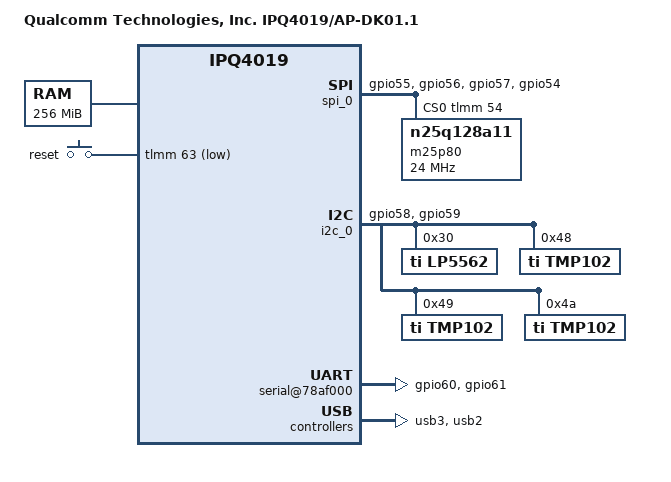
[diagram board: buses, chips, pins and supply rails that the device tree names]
/* Copyright (c) 2015 - 2016, The Linux Foundation. All rights reserved.
 *
 * Permission to use, copy, modify, and/or distribute this software for any
 * purpose with or without fee is hereby granted, provided that the above
 * copyright notice and this permission notice appear in all copies.
 *
 * THE SOFTWARE IS PROVIDED "AS IS" AND THE AUTHOR DISCLAIMS ALL WARRANTIES
 * WITH REGARD TO THIS SOFTWARE INCLUDING ALL IMPLIED WARRANTIES OF
 * MERCHANTABILITY AND FITNESS. IN NO EVENT SHALL THE AUTHOR BE LIABLE FOR
 * ANY SPECIAL, DIRECT, INDIRECT, OR CONSEQUENTIAL DAMAGES OR ANY DAMAGES
 * WHATSOEVER RESULTING FROM LOSS OF USE, DATA OR PROFITS, WHETHER IN AN
 * ACTION OF CONTRACT, NEGLIGENCE OR OTHER TORTIOUS ACTION, ARISING OUT OF
 * OR IN CONNECTION WITH THE USE OR PERFORMANCE OF THIS SOFTWARE.
 *
 */

#include "qcom-ipq4019.dtsi"
#include <dt-bindings/input/input.h>
#include <dt-bindings/gpio/gpio.h>

/ {
	model = "Qualcomm Technologies, Inc. IPQ4019/AP-DK01.1";
	compatible = "qcom,ipq4019";

	memory {
		device_type = "memory";
		reg = <0x80000000 0x10000000>; /* 256MB */
	};

	chosen {
		bootargs-append = " clk_ignore_unused";
	};

	soc {
		pinctrl@0x01000000 {
			mdio_pins: mdio_pinmux {
				mux_1 {
					pins = "gpio53";
					function = "mdio1";
					bias-pull-up;
				};
				mux_2 {
					pins = "gpio52";
					function = "mdc";
					bias-pull-up;
				};
			};

			serial_pins: serial_pinmux {
				mux {
					pins = "gpio60", "gpio61";
					function = "blsp_uart0";
					bias-disable;
				};
			};

			spi_0_pins: spi_0_pinmux {
				pinmux {
					function = "blsp_spi0";
					pins = "gpio55", "gpio56", "gpio57";
					drive-strength = <8>;
					bias-disable;
				};
				pinmux_cs {
					function = "gpio";
					pins = "gpio54";
					drive-strength = <8>;
					bias-disable;
					output-high;
				};
			};

			i2c_0_pins: i2c_0_pinmux {
				mux {
					pins = "gpio58", "gpio59";
					function = "blsp_i2c0";
					bias-disable;
				};
			};

			reset_pins: reset_pinmux {
				mux {
					pins = "gpio63";
					bias-pull-up;
				};
			};
		};

		spi_0: spi@78b5000 {
			pinctrl-0 = <&spi_0_pins>;
			pinctrl-names = "default";
			status = "ok";
			cs-gpios = <&tlmm 54 0>;
			num-cs = <1>;

			m25p80@0 {
				#address-cells = <1>;
				#size-cells = <1>;
				compatible = "n25q128a11";
				reg = <0>;
				linux,modalias = "m25p80", "n25q128a11";
				spi-max-frequency = <24000000>;
				use-default-sizes;
			};

		};
		
		i2c_0: i2c@78b7000 { /* BLSP1 QUP2 */
			pinctrl-0 = <&i2c_0_pins>;
			pinctrl-names = "default";
			status = "ok";

			lp5562@30 {
					compatible = "ti,lp5562";
					reg = <0x30>;
					clock-mode = /bits/8 <2>;
				
					chan0 {
						chan-name = "Red";
						led-cur = /bits/ 8 <0x20>;
						max-cur = /bits/ 8 <0x60>;
					};
									
					chan1 {
						chan-name = "Green";
						led-cur = /bits/ 8 <0x0>;
						max-cur = /bits/ 8 <0x0>;
					};				
		
					chan2 {
						chan-name = "Blue";
						led-cur = /bits/ 8 <0x20>;
						max-cur = /bits/ 8 <0x60>;
					};
				
					chan3 {
						chan-name = "White";
						led-cur = /bits/ 8 <0x20>;
						max-cur = /bits/ 8 <0x60>;
					};
			};
			
			tmp102@48 {
				compatible = "ti,tmp102";
				reg = <0x48>;
				label = "TMP102";
			};

			tmp102@49 {
				compatible = "ti,tmp102";
				reg = <0x49>;
				label = "TMP102";
			};
			
			tmp102@4a {
				compatible = "ti,tmp102";
				reg = <0x4a>;
				label = "TMP102";
			};
			
		};

		serial@78af000 {
			pinctrl-0 = <&serial_pins>;
			pinctrl-names = "default";
			status = "ok";
		};

		tcsr: tcsr@194b000 {
			status = "ok";
		};

		usb3_ss_phy: ssphy@0 {
			status = "ok";
		};

		usb3_hs_phy: hsphy@a6000 {
			status = "ok";
		};

		usb2_hs_phy: hsphy@a8000 {
			status = "ok";
		};

		usb3: usb3@8a00000 {
			status = "ok";
		};

		usb2: usb2@6000000 {
			status = "ok";
		};


		ess-switch@c000000 {
			switch_mac_mode = <0x0>; /* mac mode for RGMII RMII */
			switch_initvlas = <
				0x0007c 0x54 /* PORT0_STATUS */
			>;
		};

		gpio_keys {
			pinctrl-0 = <&reset_pins>;
			pinctrl-names = "default";
			compatible = "gpio-keys";

			button@1 {
				label = "reset";
				linux,code = <KEY_RESTART>;
				gpios = <&tlmm 63 GPIO_ACTIVE_LOW>;
				linux,input-type = <1>;
			};
		};

	};
};
